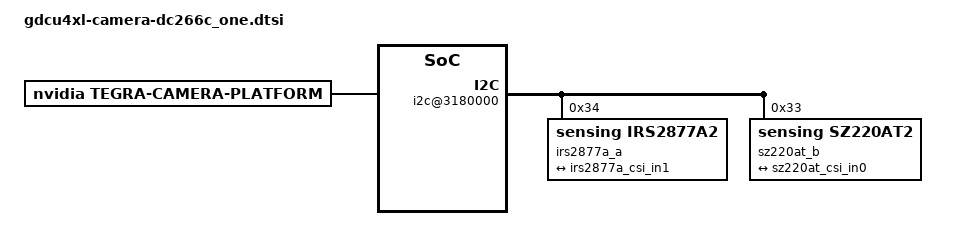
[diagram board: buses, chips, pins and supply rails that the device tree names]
/*
 * Copyright (c) 2018-2021, NVIDIA CORPORATION.  All rights reserved.
 *
 * This program is free software; you can redistribute it and/or modify it
 * under the terms and conditions of the GNU General Public License,
 * version 2, as published by the Free Software Foundation.
 *
 * This program is distributed in the hope it will be useful, but WITHOUT
 * ANY WARRANTY; without even the implied warranty of MERCHANTABILITY or
 * FITNESS FOR A PARTICULAR PURPOSE.  See the GNU General Public License for
 * more details.
 *
 * You should have received a copy of the GNU General Public License
 * along with this program.  If not, see <http://www.gnu.org/licenses/>.
 */

/ {

	 tegra-capture-vi {
        num-channels = <2>;
        ports {
            #address-cells = <1>;
            #size-cells = <0>;
            port@0 {
                reg = <0>;
                sz220at_vi_in0: endpoint {
                    vc-id = <0>;
                    port-index = <0>;
                    bus-width = <4>;
                    remote-endpoint = <&sz220at_csi_out0>;
                };
            };
            port@1 {
                reg = <1>;
                irs2877a_vi_in1: endpoint {
                    vc-id = <1>;
                    port-index = <0>;
                    bus-width = <4>;
                    remote-endpoint = <&irs2877a_csi_out1>;
                };
            };
        };
    };

    host1x@13e00000 {
        nvcsi@15a00000 {
            num-channels = <2>;
            #address-cells = <1>;
            #size-cells = <0>;
            channel@0 {
                reg = <0>;
                ports {
                    #address-cells = <1>;
                    #size-cells = <0>;
                    port@0 {
                        reg = <0>;
                        sz220at_csi_in0: endpoint@0 {
                            port-index = <0>;
                            bus-width = <4>;
                            remote-endpoint = <&sz220at_sz220at_out0>;
                        };
                    };
                    port@1 {
                        reg = <1>;
                        sz220at_csi_out0: endpoint@1 {
                            remote-endpoint = <&sz220at_vi_in0>;
                        };
                    };
                };
            };
            channel@1 {
                reg = <1>;
                ports {
                    #address-cells = <1>;
                    #size-cells = <0>;
                    port@0 {
                        reg = <0>;
                        irs2877a_csi_in1: endpoint@2 {
                            port-index = <0>;
                            bus-width = <4>;
                            remote-endpoint = <&irs2877a_irs2877a_out1>;
                        };
                    };
                    port@1 {
                        reg = <1>;
                        irs2877a_csi_out1: endpoint@3 {
                            remote-endpoint = <&irs2877a_vi_in1>;
                        };
                    };
                };
            };
        };
    };

	i2c@3180000 {
	
		    irs2877a_a@34 {
			compatible = "sensing,irs2877a2";
			
			reg = <0x34>;

			sensor_model ="irs2877a2";
			mode0 {/*mode irs2877a_MODE_640X2169_Mode9_60Mhz_80Mhz_30fps*/
		            mclk_khz = "24000";
		            num_lanes = "4";
		            tegra_sinterface = "serial_a";
			    	phy_mode = "DPHY";
		            vc_id = "1";
		            discontinuous_clk = "no";
		            dpcm_enable = "false";
		            cil_settletime = "0";
		            dynamic_pixel_bit_depth = "12";
		            csi_pixel_bit_depth = "12";
		            mode_type = "bayer";
		            pixel_phase = "rggb";
		            active_w = "640";
		            active_h = "2169";
		            readout_orientation = "0";
		            line_length = "1000";
		            inherent_gain = "1";
		            pix_clk_hz = "41644800";
		            serdes_pix_clk_hz = "400000000";

		            gain_factor = "10";
		            min_gain_val = "0"; /* dB */
		            max_gain_val = "300"; /* dB */
		            step_gain_val = "3"; /* 0.3 */
		            default_gain = "0";
		            min_hdr_ratio = "1";
		            max_hdr_ratio = "1";
		            framerate_factor = "1000000";
		            min_framerate = "30000000";
		            max_framerate = "30000000";
		            step_framerate = "1";
		            default_framerate = "30000000";
		            exposure_factor = "1000000";
		            min_exp_time = "59"; /*us, 2 lines*/
		            max_exp_time = "33333";
		            step_exp_time = "1";
		            default_exp_time = "33333";/* us */
		            embedded_metadata_height = "0";
		        };

			mode1 {/*mode irs2877a_MODE_640X1205_Mode5_80Mhz_30fps*/
		            mclk_khz = "24000";
		            num_lanes = "4";
		            tegra_sinterface = "serial_a";
			    	phy_mode = "DPHY";
		            vc_id = "1";
		            discontinuous_clk = "no";
		            dpcm_enable = "false";
		            cil_settletime = "0";
		            dynamic_pixel_bit_depth = "12";
		            csi_pixel_bit_depth = "12";
		            mode_type = "bayer";
		            pixel_phase = "rggb";
		            active_w = "640";
		            active_h = "1205";
		            readout_orientation = "0";
		            line_length = "1000";
		            inherent_gain = "1";
		            pix_clk_hz = "41644800";
		            serdes_pix_clk_hz = "400000000";

		            gain_factor = "10";
		            min_gain_val = "0"; /* dB */
		            max_gain_val = "300"; /* dB */
		            step_gain_val = "3"; /* 0.3 */
		            default_gain = "0";
		            min_hdr_ratio = "1";
		            max_hdr_ratio = "1";
		            framerate_factor = "1000000";
		            min_framerate = "30000000";
		            max_framerate = "30000000";
		            step_framerate = "1";
		            default_framerate = "30000000";
		            exposure_factor = "1000000";
		            min_exp_time = "59"; /*us, 2 lines*/
		            max_exp_time = "33333";
		            step_exp_time = "1";
		            default_exp_time = "33333";/* us */
		            embedded_metadata_height = "0";
		        };
		        
			ports {
				#address-cells = <1>;
				#size-cells = <0>;
				port@0 {
					reg = <0>;
					irs2877a_irs2877a_out1: endpoint {
						vc-id = <1>;
						port-index = <0>;
						bus-width = <4>;
						remote-endpoint = <&irs2877a_csi_in1>;
					};
				};
			};
		   };
		
		sz220at_b@33 {
			compatible = "sensing,sz220at2";
			
			reg = <0x33>;

			sensor_model ="sz220at2";
			mode0 {/*mode irs2877a_MODE_1920X1080_CROP_30FPS*/
		            mclk_khz = "24000";
		            num_lanes = "4";
		            tegra_sinterface = "serial_a";
			    phy_mode = "DPHY";
		            vc_id = "0";
		            discontinuous_clk = "no";
		            dpcm_enable = "false";
		            cil_settletime = "0";
		            dynamic_pixel_bit_depth = "16";
		            csi_pixel_bit_depth = "16";
		            mode_type = "yuv";
		            pixel_phase = "uyvy";

		            active_w = "1920";
		            active_h = "1080";
		            readout_orientation = "0";
		            line_length = "1000";
		            inherent_gain = "1";
		            pix_clk_hz = "62208000";
		            serdes_pix_clk_hz = "300000000";

		            gain_factor = "10";
		            min_gain_val = "0"; /* dB */
		            max_gain_val = "300"; /* dB */
		            step_gain_val = "3"; /* 0.3 */
		            default_gain = "0";
		            min_hdr_ratio = "1";
		            max_hdr_ratio = "1";
		            framerate_factor = "1000000";
		            min_framerate = "30000000";
		            max_framerate = "30000000";
		            step_framerate = "1";
		            default_framerate = "30000000";
		            exposure_factor = "1000000";
		            min_exp_time = "59"; /*us, 2 lines*/
		            max_exp_time = "33333";
		            step_exp_time = "1";
		            default_exp_time = "33333";/* us */
		            embedded_metadata_height = "0";
		        };
		        
			ports {
				#address-cells = <1>;
				#size-cells = <0>;
				port@0 {
					reg = <0>;
					sz220at_sz220at_out0: endpoint {
						vc-id = <0>;
						port-index = <0>;
						bus-width = <4>;
						remote-endpoint = <&sz220at_csi_in0>;
					};
				};
			};
		};
	};
};

/ {

	tegra-camera-platform {
		compatible = "nvidia, tegra-camera-platform";

		/**
		 * The general guideline for naming badge_info contains 3 parts, and is as follows,
		 * The first part is the camera_board_id for the module; if the module is in a FFD
		 * platform, then use the platform name for this part.
		 * The second part contains the position of the module, ex. "rear" or "front".
		 * The third part contains the last 6 characters of a part number which is found
		 * in the module's specsheet from the vender.
		 */
		modules {
			module0 {
				badge = "irs2877a_rear";
				position = "rear";
				orientation = "1";
				drivernode0 {
					/* Declare PCL support driver (classically known as guid)  */
					pcl_id = "v4l2_sensor";
					/* Driver v4l2 device name */
					devname = "irs2877a 0x34";
					/* Declare the device-tree hierarchy to driver instance */
					proc-device-tree = "/proc/device-tree/i2c@3180000/irs2877a_a@34";
				};
			};
			
			module1 {
				badge = "sz220at_front";
				position = "front";
				orientation = "1";
				drivernode0 {
					/* Declare PCL support driver (classically known as guid)  */
					pcl_id = "v4l2_sensor";
					/* Driver v4l2 device name */
					devname = "sz220at 0x33";
					/* Declare the device-tree hierarchy to driver instance */
					proc-device-tree = "/proc/device-tree/i2c@3180000/sz220at_b@33";
				};
			};
		};
	};
};
